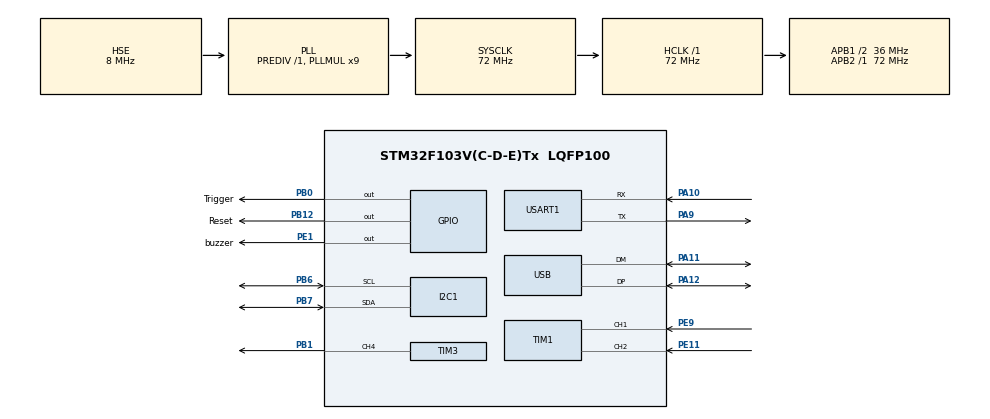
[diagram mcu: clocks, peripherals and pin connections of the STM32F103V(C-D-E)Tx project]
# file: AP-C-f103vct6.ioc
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Mcu.Family=STM32F1
Mcu.Name=STM32F103V(C-D-E)Tx
Mcu.Package=LQFP100
NVIC.PriorityGroup=NVIC_PRIORITYGROUP_4
NVIC.USART1_IRQn=true\:0\:0\:false\:false\:true\:true\:true
NVIC.USB_LP_CAN1_RX0_IRQn=true\:0\:0\:false\:false\:true\:false\:true
OSC_IN.Mode=HSE-External-Oscillator
OSC_IN.Signal=RCC_OSC_IN
OSC_OUT.Mode=HSE-External-Oscillator
OSC_OUT.Signal=RCC_OSC_OUT
PA10.Mode=Asynchronous
PA10.Signal=USART1_RX
PA11.Mode=Device
PA11.Signal=USB_DM
PA12.Mode=Device
PA12.Signal=USB_DP
PA13.Mode=Serial_Wire
PA13.Signal=SYS_JTMS-SWDIO
PA14.Mode=Serial_Wire
PA14.Signal=SYS_JTCK-SWCLK
PA9.Mode=Asynchronous
PA9.Signal=USART1_TX
PB0.GPIO_Label=Trigger
PB0.Signal=GPIO_Output
PB1.Signal=S_TIM3_CH4
PB12.GPIO_Label=Reset
PB12.Signal=GPIO_Output
PB6.Mode=I2C
PB6.Signal=I2C1_SCL
PB7.Mode=I2C
PB7.Signal=I2C1_SDA
PE1.GPIO_Label=buzzer
PE1.Signal=GPIO_Output
PE11.Signal=S_TIM1_CH2
PE9.Signal=S_TIM1_CH1
ProjectManager.HeapSize=0x1000
ProjectManager.StackSize=0x1000
ProjectManager.TargetToolchain=STM32CubeIDE
RCC.AHBFreq_Value=72000000
RCC.APB1CLKDivider=RCC_HCLK_DIV2
RCC.APB1Freq_Value=36000000
RCC.APB1TimFreq_Value=72000000
RCC.APB2Freq_Value=72000000
RCC.APB2TimFreq_Value=72000000
RCC.HCLKFreq_Value=72000000
RCC.PLLMUL=RCC_PLL_MUL9
RCC.SYSCLKFreq_VALUE=72000000
RCC.SYSCLKSource=RCC_SYSCLKSOURCE_PLLCLK
RCC.USBFreq_Value=48000000
RCC.USBPrescaler=RCC_USBCLKSOURCE_PLL_DIV1_5
SH.S_TIM1_CH1.0=TIM1_CH1,Encoder_Interface
SH.S_TIM1_CH2.0=TIM1_CH2,Encoder_Interface
SH.S_TIM3_CH4.0=TIM3_CH4,PWM Generation4 CH4
TIM1.EncoderMode=TIM_ENCODERMODE_TI12
TIM1.IC1Filter=10
TIM1.IC1Polarity=TIM_ICPOLARITY_FALLING
TIM1.IC2Filter=10
TIM1.IC2Polarity=TIM_ICPOLARITY_FALLING
TIM3.Channel-PWM\ Generation4\ CH4=TIM_CHANNEL_4
TIM3.Period=65453
TIM3.Prescaler=21
USART1.VirtualMode=VM_ASYNC
USB_DEVICE.CLASS_NAME_FS=CDC
USB_DEVICE.VirtualMode=Cdc
USB_DEVICE.VirtualModeFS=Cdc_FS
VP_USB_DEVICE_VS_USB_DEVICE_CDC_FS.Mode=CDC_FS
board=custom

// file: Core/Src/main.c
/* USER CODE BEGIN Header */
/**
  ******************************************************************************
  * @file           : main.c
  * @brief          : Main program body
  ******************************************************************************
  * @attention
  *
  * <h2><center>&copy; Copyright (c) 2020 STMicroelectronics.
  * All rights reserved.</center></h2>
  *
  * This software component is licensed by ST under Ultimate Liberty license
  * SLA0044, the "License"; You may not use this file except in compliance with
  * the License. You may obtain a copy of the License at:
  *                             www.st.com/SLA0044
  *
  ******************************************************************************
  */
/* USER CODE END Header */
#include "main.h"
#include "usb_device.h"

/* USER CODE BEGIN Includes */
#include "eeprom.h"
#include "usbd_cdc_if.h"
#include "LiquidCrystal_I2C.h"
#include <string.h>
#include <stdio.h>
#include <stdlib.h>
/* USER CODE END Includes */

/* USER CODE BEGIN PTD */
#define cls             10
#define up              11
#define down            12
#define exit            13
#define ok              14
#define dot             15

#define	Min1			0		//ADC
#define	Max1			4095

#define tedad_ersal			75
#define	Min_Real_Throttle	3272
#define	Max_Real_Throttle	6546

#define PWM_htim		&htim3
#define PWM_chanel		TIM_CHANNEL_4
#define	encoder_htim	TIM1
/* USER CODE END PTD */

/* USER CODE BEGIN PM */
const char info[] ={"\r\n***************************************\r\n"
                        "************* AeroPendulum ************\r\n"
                        "******* Seyyed Amir Ali Masoumi *******\r\n"
                        "**** PhoneNumber: +98 930 927 1137 ****\r\n"
                        "********* Telegram: @Mashroti *********\r\n"
                        "****** Email: Mashroty@gmail.com ******\r\n"
                        "***************************************\r\n"};
/* USER CODE END PM */

I2C_HandleTypeDef hi2c1;

TIM_HandleTypeDef htim1;
TIM_HandleTypeDef htim3;

UART_HandleTypeDef huart1;

/* USER CODE BEGIN PV */
struct Status
{
	uint8_t motor	: 1;
	uint8_t matlab	: 1;
	uint8_t whiles	: 1;
	uint8_t PID_whil: 1;
	uint8_t PID_OK	: 1;
	uint8_t Get_Num	: 1;
	uint8_t get_data: 1;
	uint8_t Online	: 1;
	uint8_t exe		: 1;
}Status;

struct PID{
	int8_t SetPoint;
	uint8_t time;
	double Kp;
	double Ki;
	double Kd;
}PID={45,0,20,0,0};

char RXBuffer[20],USARTbuffer[1000];

uint8_t NewDataLineCount=0;
uint8_t RXBufferCount=0;

uint8_t UsartNewDataLineCount=0;
uint8_t UsartRXBufferCount=0;
uint8_t NewDataInt;

uint16_t Min_Throttle ;	//PWM
uint16_t Max_Throttle ;	//6546
uint16_t throttle;
/* USER CODE END PV */

void SystemClock_Config(void);
static void MX_GPIO_Init(void);
static void MX_TIM1_Init(void);
static void MX_TIM3_Init(void);
static void MX_USART1_UART_Init(void);
static void MX_I2C1_Init(void);
/* USER CODE BEGIN PFP */
void startup (void);
void Process_UART_Data(char* Data);
char GET_KEY(void);
void Matlab(void);
void KeyPad(void);
void Volume(void);
void Verify_Unique(void);
void PID_setting(void);
void Get_Number (char *NUMBER);

void USART_Process_Data(void);
void Online(void);
void WiFi_Setting(void);

int __io_putchar(int ch)
{
  HAL_UART_Transmit(&huart1, (uint8_t *)&ch, 1, 0xFFFF);
  return ch;
}

void Log(char* log)
{
	CDC_Transmit_FS((uint8_t*)log,strlen(log));
}

void USART_log(char* log)
{
	HAL_UART_Transmit(&huart1,(uint8_t*)log,strlen(log),100);
}

void HAL_UART_RxCpltCallback(UART_HandleTypeDef *huart)
{
	USARTbuffer[UsartRXBufferCount++]=NewDataInt;
	USARTbuffer[UsartRXBufferCount]=0;
	if(NewDataInt=='\n')
	{
		//USART_log(USARTbuffer);
		UsartNewDataLineCount=UsartRXBufferCount;
		UsartRXBufferCount=0;
	}
	else
	{
		HAL_UART_Receive_IT(&huart1,&NewDataInt,1);
	}
}
/* USER CODE END PFP */

int main(void)
{
  /* USER CODE BEGIN 1 */
	int8_t Num;
	Status.matlab = 0;
	Status.Online = 0;
	Status.exe = 0;
	Status.get_data = 0;
  /* USER CODE END 1 */

  /* MCU Configuration--------------------------------------------------------*/

  /* Reset of all peripherals, Initializes the Flash interface and the Systick. */
  HAL_Init();

  /* Configure the system clock */
  SystemClock_Config();

  /* USER CODE BEGIN SysInit */
	HAL_FLASH_Unlock();
	EE_Init();
	EE_ReadVariable(0,&Min_Throttle);
	EE_ReadVariable(1,&Max_Throttle);
	HAL_FLASH_Lock();
  /* USER CODE END SysInit */

  /* Initialize all configured peripherals */
  MX_GPIO_Init();
  MX_TIM1_Init();
  MX_TIM3_Init();
  MX_USART1_UART_Init();
  MX_USB_DEVICE_Init();
  MX_I2C1_Init();
  /* USER CODE BEGIN 2 */
  HAL_TIM_Base_Start(&htim1);
  HAL_TIM_PWM_Start(PWM_htim,PWM_chanel);
  __HAL_TIM_SET_COMPARE(PWM_htim,PWM_chanel,Min_Real_Throttle);

  lcd_init(0x27, 4, 20);
  lcd_noCursor();
  startup();
  Verify_Unique();
  /* USER CODE END 2 */

  /* Infinite loop */
  /* USER CODE BEGIN WHILE */

  lcd_clear();
  Num = 20;

  while (1)
  {
	if((Num >= 0 && Num <= 9 ) || Num == 20)
	{
		lcd_clear();
		Status.whiles=1;
			 if(Num == 2)	Matlab();
		else if(Num == 3)	KeyPad();
		else if(Num == 9)	Volume();
		else if(Num == 0)	WiFi_Setting();
		else if(Num == 4)
		{
			Status.exe = 1;
			KeyPad();
		}
		else if(Num == 1)
		{
			Status.Online = 1;
			HAL_UART_Receive_IT(&huart1,&NewDataInt,1);
			KeyPad();
		}
		lcd_clear();
		lcd_puts_XY(0,0,"1> Online");
		lcd_puts_XY(0,1,"2> Matlab");
		lcd_puts_XY(0,2,"3> Micro Controller");
		lcd_puts_XY(0,3,"4> Windows app");
		//lcd_puts_XY(0,3,"8> Manual adjustment");

	}
	Num = GET_KEY();
	if (Num==cls)__HAL_TIM_SET_COMPARE(PWM_htim,PWM_chanel,Min_Real_Throttle);
    /* USER CODE END WHILE */

  }
}

void SystemClock_Config(void)
{
  RCC_OscInitTypeDef RCC_OscInitStruct = {0};
  RCC_ClkInitTypeDef RCC_ClkInitStruct = {0};
  RCC_PeriphCLKInitTypeDef PeriphClkInit = {0};

  /** Initializes the RCC Oscillators according to the specified parameters
  * in the RCC_OscInitTypeDef structure.
  */
  RCC_OscInitStruct.OscillatorType = RCC_OSCILLATORTYPE_HSE;
  RCC_OscInitStruct.HSEState = RCC_HSE_ON;
  RCC_OscInitStruct.HSEPredivValue = RCC_HSE_PREDIV_DIV1;
  RCC_OscInitStruct.HSIState = RCC_HSI_ON;
  RCC_OscInitStruct.PLL.PLLState = RCC_PLL_ON;
  RCC_OscInitStruct.PLL.PLLSource = RCC_PLLSOURCE_HSE;
  RCC_OscInitStruct.PLL.PLLMUL = RCC_PLL_MUL9;
  if (HAL_RCC_OscConfig(&RCC_OscInitStruct) != HAL_OK)
  {
    Error_Handler();
  }
  /** Initializes the CPU, AHB and APB buses clocks
  */
  RCC_ClkInitStruct.ClockType = RCC_CLOCKTYPE_HCLK|RCC_CLOCKTYPE_SYSCLK
                              |RCC_CLOCKTYPE_PCLK1|RCC_CLOCKTYPE_PCLK2;
  RCC_ClkInitStruct.SYSCLKSource = RCC_SYSCLKSOURCE_PLLCLK;
  RCC_ClkInitStruct.AHBCLKDivider = RCC_SYSCLK_DIV1;
  RCC_ClkInitStruct.APB1CLKDivider = RCC_HCLK_DIV2;
  RCC_ClkInitStruct.APB2CLKDivider = RCC_HCLK_DIV1;

  if (HAL_RCC_ClockConfig(&RCC_ClkInitStruct, FLASH_LATENCY_2) != HAL_OK)
  {
    Error_Handler();
  }
  PeriphClkInit.PeriphClockSelection = RCC_PERIPHCLK_USB;
  PeriphClkInit.UsbClockSelection = RCC_USBCLKSOURCE_PLL_DIV1_5;
  if (HAL_RCCEx_PeriphCLKConfig(&PeriphClkInit) != HAL_OK)
  {
    Error_Handler();
  }
}

static void MX_I2C1_Init(void)
{

  hi2c1.Instance = I2C1;
  hi2c1.Init.ClockSpeed = 100000;
  hi2c1.Init.DutyCycle = I2C_DUTYCYCLE_2;
  hi2c1.Init.OwnAddress1 = 0;
  hi2c1.Init.AddressingMode = I2C_ADDRESSINGMODE_7BIT;
  hi2c1.Init.DualAddressMode = I2C_DUALADDRESS_DISABLE;
  hi2c1.Init.OwnAddress2 = 0;
  hi2c1.Init.GeneralCallMode = I2C_GENERALCALL_DISABLE;
  hi2c1.Init.NoStretchMode = I2C_NOSTRETCH_DISABLE;
  if (HAL_I2C_Init(&hi2c1) != HAL_OK)
  {
    Error_Handler();
  }

}

static void MX_TIM1_Init(void)
{

  TIM_Encoder_InitTypeDef sConfig = {0};
  TIM_MasterConfigTypeDef sMasterConfig = {0};

  htim1.Instance = TIM1;
  htim1.Init.Prescaler = 0;
  htim1.Init.CounterMode = TIM_COUNTERMODE_UP;
  htim1.Init.Period = 65535;
  htim1.Init.ClockDivision = TIM_CLOCKDIVISION_DIV1;
  htim1.Init.RepetitionCounter = 0;
  htim1.Init.AutoReloadPreload = TIM_AUTORELOAD_PRELOAD_DISABLE;
  sConfig.EncoderMode = TIM_ENCODERMODE_TI12;
  sConfig.IC1Polarity = TIM_ICPOLARITY_FALLING;
  sConfig.IC1Selection = TIM_ICSELECTION_DIRECTTI;
  sConfig.IC1Prescaler = TIM_ICPSC_DIV1;
  sConfig.IC1Filter = 10;
  sConfig.IC2Polarity = TIM_ICPOLARITY_FALLING;
  sConfig.IC2Selection = TIM_ICSELECTION_DIRECTTI;
  sConfig.IC2Prescaler = TIM_ICPSC_DIV1;
  sConfig.IC2Filter = 10;
  if (HAL_TIM_Encoder_Init(&htim1, &sConfig) != HAL_OK)
  {
    Error_Handler();
  }
  sMasterConfig.MasterOutputTrigger = TIM_TRGO_RESET;
  sMasterConfig.MasterSlaveMode = TIM_MASTERSLAVEMODE_DISABLE;
  if (HAL_TIMEx_MasterConfigSynchronization(&htim1, &sMasterConfig) != HAL_OK)
  {
    Error_Handler();
  }

}

static void MX_TIM3_Init(void)
{

  TIM_MasterConfigTypeDef sMasterConfig = {0};
  TIM_OC_InitTypeDef sConfigOC = {0};

  htim3.Instance = TIM3;
  htim3.Init.Prescaler = 21;
  htim3.Init.CounterMode = TIM_COUNTERMODE_UP;
  htim3.Init.Period = 65453;
  htim3.Init.ClockDivision = TIM_CLOCKDIVISION_DIV1;
  htim3.Init.AutoReloadPreload = TIM_AUTORELOAD_PRELOAD_DISABLE;
  if (HAL_TIM_PWM_Init(&htim3) != HAL_OK)
  {
    Error_Handler();
  }
  sMasterConfig.MasterOutputTrigger = TIM_TRGO_RESET;
  sMasterConfig.MasterSlaveMode = TIM_MASTERSLAVEMODE_DISABLE;
  if (HAL_TIMEx_MasterConfigSynchronization(&htim3, &sMasterConfig) != HAL_OK)
  {
    Error_Handler();
  }
  sConfigOC.OCMode = TIM_OCMODE_PWM1;
  sConfigOC.Pulse = 0;
  sConfigOC.OCPolarity = TIM_OCPOLARITY_HIGH;
  sConfigOC.OCFastMode = TIM_OCFAST_DISABLE;
  if (HAL_TIM_PWM_ConfigChannel(&htim3, &sConfigOC, TIM_CHANNEL_4) != HAL_OK)
  {
    Error_Handler();
  }
  HAL_TIM_MspPostInit(&htim3);

}

static void MX_USART1_UART_Init(void)
{

  huart1.Instance = USART1;
  huart1.Init.BaudRate = 115200;
  huart1.Init.WordLength = UART_WORDLENGTH_8B;
  huart1.Init.StopBits = UART_STOPBITS_1;
  huart1.Init.Parity = UART_PARITY_NONE;
  huart1.Init.Mode = UART_MODE_TX_RX;
  huart1.Init.HwFlowCtl = UART_HWCONTROL_NONE;
  huart1.Init.OverSampling = UART_OVERSAMPLING_16;
  if (HAL_UART_Init(&huart1) != HAL_OK)
  {
    Error_Handler();
  }

}

static void MX_GPIO_Init(void)
{
  GPIO_InitTypeDef GPIO_InitStruct = {0};

  /* GPIO Ports Clock Enable */
  __HAL_RCC_GPIOB_CLK_ENABLE();
  __HAL_RCC_GPIOE_CLK_ENABLE();
  __HAL_RCC_GPIOA_CLK_ENABLE();

  /*Configure GPIO pin Output Level */
  HAL_GPIO_WritePin(GPIOB, Trigger_Pin|Reset_Pin, GPIO_PIN_RESET);

  /*Configure GPIO pin Output Level */
  HAL_GPIO_WritePin(buzzer_GPIO_Port, buzzer_Pin, GPIO_PIN_RESET);

  /*Configure GPIO pins : Trigger_Pin Reset_Pin */
  GPIO_InitStruct.Pin = Trigger_Pin|Reset_Pin;
  GPIO_InitStruct.Mode = GPIO_MODE_OUTPUT_PP;
  GPIO_InitStruct.Pull = GPIO_NOPULL;
  GPIO_InitStruct.Speed = GPIO_SPEED_FREQ_LOW;
  HAL_GPIO_Init(GPIOB, &GPIO_InitStruct);

  /*Configure GPIO pin : buzzer_Pin */
  GPIO_InitStruct.Pin = buzzer_Pin;
  GPIO_InitStruct.Mode = GPIO_MODE_OUTPUT_PP;
  GPIO_InitStruct.Pull = GPIO_NOPULL;
  GPIO_InitStruct.Speed = GPIO_SPEED_FREQ_LOW;
  HAL_GPIO_Init(buzzer_GPIO_Port, &GPIO_InitStruct);

}

/* USER CODE BEGIN 4 */
void startup(void)
{

	lcd_clear();
	uint8_t Num = GET_KEY();

	if(Num!=16)
	{
	  lcd_puts_XY(0,0,"SeyyedAmirAliMasoumi");
	  lcd_puts_XY(0,1,"Telegram : @Mashroti");
	  lcd_puts_XY(2,2,"+98 930 927 1137");
	  lcd_puts_XY(4,3,"AeroPendulum");
	  HAL_Delay(6000);
	}
	else
	{
	  lcd_puts_XY(4,0,"AeroPendulum");
	  lcd_puts_XY(1,1,"Motor Initializing");
	  lcd_puts_XY(4,2,"Please Wait");
	  for(uint8_t i=0 ;i<19 ;i++)
	  {
		  lcd_puts_XY(i,3,"\xff>");
		  HAL_Delay(300);
	  }
	}
	Log((char*)info);
	USART_log((char*)info);
}
/*****************************************************************************************************************
 ***********************************************                **************************************************
 ***********************************************   Usart Data   **************************************************
 ***********************************************                **************************************************
 *****************************************************************************************************************/
void Process_UART_Data(char* Data)
{
	char buffer[20];
	float p,i,d;
	int sp,time;
	NewDataLineCount=0;

	if(strstr(Data,"Angle?")!=0)
	{
		int16_t Angle = ((int16_t)TIM1->CNT)/4;
	    sprintf(buffer,"Angle:%04d\r\n",Angle);
	    Log(buffer);
	}

	else if(strstr(Data,"zenc")!=0)
	{
		TIM1->CNT = 0;
	}

	else if(strstr(Data,"PWM")!=0)
	{
		uint16_t track = atoi(strstr(Data,"PWM:")+4);
		__HAL_TIM_SET_COMPARE(PWM_htim,PWM_chanel,track);
	}
	else
	{
		int x = sscanf(Data,"kp%fki%fkd%fsp%dtime%d",&p,&i,&d,&sp,&time);
		if(x == 5)
		{
			PID.Kp = p;
			PID.Ki = i;
			PID.Kd = d;
			PID.SetPoint = sp;

			if(time == 555) Status.motor = 1;
			if(time == 444)
				{
					Status.motor = 0;
					__HAL_TIM_SET_COMPARE(PWM_htim,PWM_chanel,Min_Real_Throttle);
				}
		}
	}
}
/*****************************************************************************************************************
 ***********************************************                **************************************************
 ***********************************************  VerifyUnique  **************************************************
 ***********************************************                **************************************************
 *****************************************************************************************************************/
void Verify_Unique(void)
{
	uint8_t i;
	uint8_t ERROR[13] = {75,111,115,32,78,97,78,97,116,32,58,41,0};

	uint32_t unique_id1[3] = {0X44EDD34, 0X350E3756, 0X2202021E};
	uint32_t unique_id2[3] = {0x18d21fd, 0x2910fc, 0x2f238418};
	//uint32_t unique_id2[3] = {0x21A2203, 0xfd2a18f7, 0x21013535};
/********************** GET ID **********************/
/*
	uint32_t unique_id[3];
	for(i=0 ; i<3 ;i++)
	{
		unique_id[i] = *(__IO uint32_t*)(UID_BASE+i*4);
	}

	for(i=0 ; i<3 ;i++)
	{
		unique_id2[i] = unique_id[i] - unique_id1[i];
	}
*/
/********************** GET ID **********************/

	for(i=0 ; i<3 ;i++)
	{
		if((uint32_t)(unique_id1[i]+unique_id2[i]) != *(__IO uint32_t*)(UID_BASE+i*4))
		{
		  while(1)
		  {
			  lcd_setCursor(4, 2);
			  lcd_puts((char*)ERROR);
			  HAL_Delay(1000);
			  lcd_clear();
			  HAL_Delay(500);
		  }
		}
	}
}
/****************************************************************************************************************
 ***********************************************               **************************************************
 ***********************************************  Read KeyPad  **************************************************
 ***********************************************               **************************************************
 ****************************************************************************************************************/
char GET_KEY(void)
{
	unsigned char Num=16;
    char code[17]={ 1, 2, 3, 10,
                    4, 5, 6, 11,
                    7, 8, 9, 12,
                   15, 0,14, 13, 16};

    GPIOA->CRL = 0x88888888;
    GPIOA->ODR |= 0xFF;

    for(char i=0;i<4;i++)
    {
    	GPIOA->ODR &= ~(0x0001<<i);				//Pin reset (0)
        GPIOA->CRL &= ~(0x0000000f << (i*4));
        GPIOA->CRL |=  (0x00000002 << (i*4));	//Pin output

        HAL_Delay(2);

        if(((GPIOA->IDR & 0x000000FF) & 0xF0)!=0xF0)
        {
        	for(char x=0;x<4;x++)
        	{
        		if(((GPIOA->IDR & 0x000000FF) & 1<<(4+x)) != 1<<(4+x)) Num = i*4+x;
        	}
        }

        GPIOA->CRL &= ~(0x0000000f << (i*4));
        GPIOA->CRL |=  (0x00000008 << (i*4));	//Pin input
        GPIOA->ODR |=  (0x0001<<i);				//Pin set (1)
    }
    return code[Num];
}
/****************************************************************************************************************
 ***********************************************               **************************************************
 ***********************************************  Matlab Mode  **************************************************
 ***********************************************               **************************************************
 ****************************************************************************************************************/
void Matlab(void)
{
	int16_t Angle, pwm, darsad;
	uint8_t Buffer[21];

	char Num, Prev_Num;
	union u_type{
		double pid_exit;
		uint8_t u[8];
	}var;

	Status.motor=1;
	Status.matlab=1;
	NewDataLineCount = 1;

	while(Status.whiles)
	{

	    Angle = TIM1->CNT;	//get data from encoder
	    Angle /= 4;			//calculation Angle

		if(NewDataLineCount != 0)	//wait for new data
		{
			if(strstr(RXBuffer,"Angle?")!=0)
			{
				sprintf((char*)Buffer,"%04d\r\n",(int8_t)Angle);
				Log((char*)Buffer);
			}
			else
			{
				var.u[0] = RXBuffer[0];
				var.u[1] = RXBuffer[1];
				var.u[2] = RXBuffer[2];
				var.u[3] = RXBuffer[3];
				var.u[4] = RXBuffer[4];
				var.u[5] = RXBuffer[5];
				var.u[6] = RXBuffer[6];
				var.u[7] = RXBuffer[7];	//change received data to int16_t

				pwm = var.pid_exit + Min_Throttle;	//calculation PWM

				if(pwm > Max_Throttle) pwm = Max_Throttle;	//Limit Maximum pulse
				if(pwm < Min_Throttle) pwm = Min_Throttle;	//Limit Minimum pulse
				if(Status.motor) __HAL_TIM_SET_COMPARE(PWM_htim,PWM_chanel,pwm);
			}

			NewDataLineCount = 0;		//clear flag
		}

		sprintf((char*)Buffer,"Angle= %d  ",(int8_t)Angle);
		lcd_puts_XY(0,0,(char*)Buffer);

		darsad = (((pwm-Min_Real_Throttle)*100)/(Max_Real_Throttle - Min_Real_Throttle));
		sprintf((char*)Buffer,"Puls=%%%03d ",darsad);
		lcd_puts_XY(0,2,(char*)Buffer);

		Num = GET_KEY();
		if(Num != Prev_Num)
		{
			switch (Num)
			{
				case exit:
					Status.whiles=0;
					break;
				case 0:
					TIM1->CNT = 0;
					break;
				case cls:
					Status.motor ^= 1;
					break;
			}
			Prev_Num = Num;
		}
		if(!Status.motor)
		{
			__HAL_TIM_SET_COMPARE(PWM_htim,PWM_chanel,Min_Real_Throttle);
			lcd_puts_XY(11,2,"Motor OFF");
		}
		else lcd_puts_XY(11,2,"Motor ON ");
	}
	__HAL_TIM_SET_COMPARE(PWM_htim,PWM_chanel,Min_Real_Throttle);
	Status.matlab=0;
}
/****************************************************************************************************************
 ***********************************************               **************************************************
 ***********************************************  KeyPad Mode  **************************************************
 ***********************************************               **************************************************
 ****************************************************************************************************************/
void KeyPad(void)
{
	double Error=0, Previous_error=0;
	double p_term=0, d_term=0, i_term=0, dt=0;

	int16_t Value=0, PWM=0, Angle=0;
	uint32_t online_time,timePrev, TickStart = HAL_GetTick();
	uint16_t darsad, exe_time,exe_tickstart;

	char Num, Prev_Num=ok;
	uint8_t Buffer[21],i;
	int16_t angle_send[200];
	uint16_t time_send[200];

	Status.motor = 0;
	throttle =  Max_Throttle - Min_Throttle;

	while(Status.whiles)
	{
		Num = GET_KEY();
		if(Num != Prev_Num)
		{
			switch (Num)
			{
				case exit:
					Status.whiles=0;
					break;
				case 0:
					TIM1->CNT = 0;
					break;
				case up:
					PID.SetPoint++;
					break;
				case down:
					PID.SetPoint--;
					break;
				case ok:
					__HAL_TIM_SET_COMPARE(PWM_htim,PWM_chanel,Min_Real_Throttle);
					Status.motor = 0;i_term=0;d_term=0;
					PID_setting();
					break;
				case cls:
					Status.motor ^= 1;
					if(Status.motor == 0)
					{
						i_term=0;d_term=0;
						__HAL_TIM_SET_COMPARE(PWM_htim,PWM_chanel,Min_Real_Throttle);
						if(Status.Online)
						{
							HAL_UART_Transmit(&huart1,(uint8_t*) "D", 1, 20);
							HAL_UART_Receive_IT(&huart1,&NewDataInt,1);
							PID.time = 0;
						}
					}
					TickStart = HAL_GetTick();
					break;
			}
			if(Num == ok)Prev_Num = exit;
			else Prev_Num = Num;
		}

	    Angle = ((int16_t)TIM1->CNT)/4;

	    if(Status.exe)
	    {
			if(NewDataLineCount != 0)
			{
			  Process_UART_Data(RXBuffer);
			  i_term = 0;
			  exe_time = 0;
			  TickStart = HAL_GetTick();
			  exe_tickstart = HAL_GetTick();
			}
	    }

		if(Status.Online)
		{
			if(UsartNewDataLineCount!=0)
			{
				USART_Process_Data();
				if(Status.get_data==0)
				{
					Status.get_data = 1;
					Status.motor = 1;
					online_time = HAL_GetTick();
					i=0;
				}
			}
		}

		if(Status.motor)
		{
		    timePrev	=	TickStart;
		    TickStart	=	HAL_GetTick();
		    dt			= 	((float)(TickStart - timePrev) / 1000.00);

			Error		=	PID.SetPoint - Angle;

			if(Status.exe)
			{
				exe_time = HAL_GetTick() - exe_tickstart;
				sprintf((char*)Buffer,"data,%d,%d\r\n",Angle,exe_time);
				Log((char*)Buffer);
			}

			if(Status.Online)
			{
				angle_send[i] = (int16_t)Angle;
				time_send[i] = HAL_GetTick() - online_time;

				if(time_send[i] >= PID.time*1000)
				{
					HAL_UART_Receive_IT(&huart1,&NewDataInt,1);
					Status.motor = 0;
					PID.time = 0;
				}

				i++;
				if(i >= tedad_ersal || Status.motor == 0)
				{
					for(uint8_t x=0 ; x<i ; x++)
					{
						sprintf((char*)Buffer,"%d@%d,",angle_send[x],(uint16_t)time_send[x]);
						HAL_UART_Transmit(&huart1,(uint8_t*)Buffer, strlen((char*)Buffer), 50);
					}
					if(Status.motor == 0)HAL_UART_Transmit(&huart1,(uint8_t*) "D", 1, 20);
					else HAL_UART_Transmit(&huart1,(uint8_t*) "E", 1, 20);
					i=0;
				}
			}

			p_term = PID.Kp * Error;

			i_term		=	(PID.Ki * (Error + Previous_error) * dt / 2) + i_term ;
			if(i_term > throttle) i_term = throttle;
			if(i_term <-throttle) i_term = -throttle;

            /*N 			=	(1.0 / dt) * 0.9 ;
            filter		+=	dt * d_term;
            d_term 		= 	(PID.Kd * Error - filter) * N;*/

			d_term = (Error - Previous_error) / dt * PID.Kd;
            if(d_term > throttle)	d_term = throttle;
            if(d_term <-throttle)	d_term = -throttle;

			PWM			=	(int16_t)(p_term + i_term + d_term);

			if (PWM > throttle)	PWM = throttle;
			if (PWM < 0)		PWM = 0;

			Value = PWM + Min_Throttle;
			__HAL_TIM_SET_COMPARE(PWM_htim,PWM_chanel,Value);

			Previous_error = Error;
		}

		if(Status.motor) {lcd_puts_XY(11,3,"Motor ON ");}
		else
		{
			lcd_puts_XY(11,3,"Motor OFF");
			Value = Min_Real_Throttle;
			i_term = 0;d_term=0;
			if(Status.Online)__HAL_TIM_SET_COMPARE(PWM_htim,PWM_chanel,Min_Real_Throttle);
		}
		sprintf((char*)Buffer,"SP= %03d    PV= %03d ",PID.SetPoint,Angle);
		lcd_puts_XY(0,0,(char*)Buffer);

		darsad = (((Value-Min_Real_Throttle)*100)/(Max_Real_Throttle - Min_Real_Throttle));
		sprintf((char*)Buffer,"P=%07.3f  Puls=%%%03d",PID.Kp,darsad);
		lcd_puts_XY(0,1,(char*)Buffer);

		sprintf((char*)Buffer,"I=%07.3f",PID.Ki);
		lcd_puts_XY(0,2,(char*)Buffer);
		sprintf((char*)Buffer,"D=%07.3f",PID.Kd);
		lcd_puts_XY(0,3,(char*)Buffer);
	}

	__HAL_TIM_SET_COMPARE(PWM_htim,PWM_chanel,Min_Real_Throttle);
	Status.motor=0;Status.Online=0;
}
/****************************************************************************************************************
 ***********************************************               **************************************************
 ***********************************************  Volume Mode  **************************************************
 ***********************************************               **************************************************
 ****************************************************************************************************************/
void Volume(void)
{
	char Num,Prev_Num=ok;
	int Value = Min_Real_Throttle;
	char Buffer[15];
	int16_t encoder;

	Status.motor = 0;
	lcd_puts_XY(4,3,"Motor is OFF");

	HAL_FLASH_Unlock();
	EE_Init();

	while(Status.whiles)
	{
		Num = GET_KEY();
		if(Prev_Num == up || Prev_Num == down)Prev_Num=16;
		if(Num != Prev_Num)
		{
			switch (Num)
			{
			case exit:
				Status.whiles=0;
				break;
			case 0:
				TIM1->CNT = 0;
				break;
			case 1:
				Value = Min_Real_Throttle;
				break;
			case 2:
				Value = Max_Real_Throttle;
				break;
			case 7:
				Min_Throttle = Value;EE_WriteVariable(0,Min_Throttle);HAL_Delay(10);
				lcd_puts_XY(6,1,"Min Saved");HAL_Delay(250);lcd_puts_XY(6,1,"         ");
				break;
			case 8:
				Max_Throttle = Value;EE_WriteVariable(1,Max_Throttle);HAL_Delay(10);
				lcd_puts_XY(6,1,"Max Saved");HAL_Delay(250);lcd_puts_XY(6,1,"         ");
				break;
			case up:
				if(Value < Max_Real_Throttle)Value += 2;
				break;
			case down:
				if(Value > Min_Real_Throttle)Value -= 2;
				break;
			case cls:
				Status.motor ^= 1;
				if(Status.motor) {lcd_puts_XY(4,3,"Motor is ON ");}
				else
				{
					lcd_puts_XY(4,3,"Motor is OFF");
					Value = Min_Real_Throttle;
					__HAL_TIM_SET_COMPARE(PWM_htim,PWM_chanel,Value);
				}
				break;
			case ok:
				break;
			}
			Prev_Num = Num;
		}

		if(Status.motor)__HAL_TIM_SET_COMPARE(PWM_htim,PWM_chanel,Value);
		else 			__HAL_TIM_SET_COMPARE(PWM_htim,PWM_chanel,Min_Real_Throttle);

		encoder = TIM1->CNT;
		float Angle = (float)encoder / 4;
	    sprintf(Buffer,"Angle= %05.2f  ",Angle);
	    lcd_puts_XY(4,0,Buffer);

		float darsad = (float)((Value - Min_Real_Throttle)*100)/(Max_Real_Throttle - Min_Real_Throttle);
		sprintf(Buffer,"Pulse= %%%3.2f  ",darsad);
		lcd_puts_XY(4,2,Buffer);

	    HAL_Delay(1);
	}
	__HAL_TIM_SET_COMPARE(PWM_htim,PWM_chanel,Min_Real_Throttle);

	HAL_FLASH_Lock();
}
/****************************************************************************************************************
 ***********************************************               **************************************************
 ***********************************************    Setting    **************************************************
 ***********************************************               **************************************************
 ****************************************************************************************************************/
void PID_setting(void)
{
	uint8_t Prev_Num=ok,Num;
	char Buffer[20];
	char NUMBER[9];
	int8_t i=0;
	double x;

	lcd_clear();

	do
	{
		lcd_puts_XY(6,0,"SetPoint");
		lcd_puts_XY(9,1,"KP");
		lcd_puts_XY(9,2,"KI");
		lcd_puts_XY(9,3,"KD");

		Status.whiles=1; Status.PID_whil=0;
		while(Status.whiles)
		{
			Num = GET_KEY();

			if(Num != Prev_Num)
			{
				lcd_puts_XY(3,i," ");
				lcd_puts_XY(17,i," ");

				if(Num==up)i--;
				if(Num==down)i++;
				if(i<0)i=3;
				if(i>3)i=0;

				lcd_puts_XY(3,i,">");
				lcd_puts_XY(17,i,"<");
				Prev_Num = Num;

				if(Num == ok){Status.whiles=0;Status.PID_whil=1;}
				if(Num == exit)Status.whiles=0;
			}
		}
		if(Status.PID_whil)
		{
			lcd_clear();

			if(i==0)
			{
				lcd_puts_XY(0,0,"------>SET SP<------");
				sprintf(Buffer,"Last SP= %02d ",PID.SetPoint);
				lcd_puts_XY(2,2,Buffer);
				lcd_puts_XY(3,3,"NEW SP= ");
			}
			if(i==1)
			{
				lcd_puts_XY(0,0,"------>SET KP<------");
				sprintf(Buffer,"Last KP= %07.4f  ",PID.Kp);
				lcd_puts_XY(2,2,Buffer);
				lcd_puts_XY(3,3,"NEW KP= ");
			}
			if(i==2)
			{
				lcd_puts_XY(0,0,"------>SET KI<------");
				sprintf(Buffer,"Last KI= %07.4f  ",PID.Ki);
				lcd_puts_XY(2,2,Buffer);
				lcd_puts_XY(3,3,"NEW KI= ");
			}
			if(i==3)
			{
				lcd_puts_XY(0,0,"------>SET KD<------");
				sprintf(Buffer,"Last KD= %07.4f  ",PID.Kd);
				lcd_puts_XY(2,2,Buffer);
				lcd_puts_XY(3,3,"NEW KD= ");
			}

			Get_Number(NUMBER);
			if(Status.PID_OK)
			{
				Prev_Num = ok;
				x = atof(NUMBER);
				if(x > 999) x = 999;
				switch(i)
				{
					case 0:
						if(x > 90) x = 90;
						if(x < 0) x = 0;
						PID.SetPoint = x;
					break;
					case 1:
						PID.Kp = x;
					break;
					case 2:
						PID.Ki = x;
					break;
					case 3:
						PID.Kd = x;
					break;
				}
			}else Prev_Num = exit;

		}
	}while(Status.whiles);

	Status.whiles=1;
	lcd_clear();
}
/****************************************************************************************************************
 ***********************************************               **************************************************
 ***********************************************   Get Number  **************************************************
 ***********************************************               **************************************************
 ****************************************************************************************************************/
void Get_Number (char *NUMBER)
{
  char Prev_Num=ok ,Num;
  uint8_t i;

  for(i=0;i<7;i++)*(NUMBER+i)=' ';
  i=0;

  Status.Get_Num=1;
  while(Status.Get_Num)
  {
    Num = GET_KEY();
    if(Prev_Num != Num && Num !=16)
    {
       switch (Num)
       {
        case cls:
            if(i>0)i--;
            NUMBER[i] = ' ';
            lcd_setCursor(11+i, 3);
            lcd_putch(' ');
        break;

        case ok:
        	Status.Get_Num = 0;
            Status.PID_OK = 1;
        break;

        case exit:
        	Status.Get_Num = 0;
            Status.PID_OK = 0;
        break;

        case up:
        break;

        case down:
        break;

        case dot:
		if(i<7)
		{
		  NUMBER[i] = '.';
		  lcd_setCursor(11+i, 3);
		  lcd_putch(NUMBER[i]);
		  i++;
		}
        break;

        default:
            if(i<8)
            {
              NUMBER[i] = Num + '0';
    		  lcd_setCursor(11+i, 3);
    		  lcd_putch(NUMBER[i]);
              i++;
            }
       };

    }
    Prev_Num = Num;
  }
  Status.whiles=1;
  lcd_clear();
}

/****************************************************************************************************************
 ***********************************************               **************************************************
 ***********************************************     ONLINE    **************************************************
 ***********************************************               **************************************************
 ****************************************************************************************************************/
void USART_Process_Data(void)
{
	float p,i,d;
	int sp,time;

	int z = sscanf(USARTbuffer,"kp%fki%fkd%ftime%dsp%d", &p, &i, &d, &time, &sp);

	if(z == 5)
	{
		PID.Kp = p;
		PID.Ki = i;
		PID.Kd = d;
		PID.SetPoint = sp;

		if(time == 555) Status.motor = 1;
		if(time == 444) Status.motor = 0;
		if(time > 60) time = 60;
		PID.time = time;

		Status.get_data=0;
		if(Status.Online)
		{
			HAL_UART_Transmit(&huart1,(uint8_t*) "Y", 1, 20);
			HAL_Delay(20);
			HAL_UART_Transmit(&huart1,(uint8_t*) "Y", 1, 20);
			HAL_Delay(20);
			HAL_UART_Transmit(&huart1,(uint8_t*) "Y", 1, 20);
			HAL_Delay(20);
			HAL_UART_Transmit(&huart1,(uint8_t*) "Y", 1, 20);
		}
	}
	else
	{
		HAL_UART_Receive_IT(&huart1,&NewDataInt,1);
	}

	UsartNewDataLineCount=0;
}
/****************************************************************************************************************
 ***********************************************               **************************************************
 ***********************************************      WiFi     **************************************************
 ***********************************************               **************************************************
 ****************************************************************************************************************/
void WiFi_Setting(void)
{
	char Num;

	lcd_clear();
	lcd_puts_XY(0,0,"Connect to WiFi:");
	lcd_puts_XY(1,1,">> AeroPendulum <<");
	lcd_puts_XY(0,2,"And Type in browser:");
	lcd_puts_XY(1,3,">> 192.168.4.1 <<");

	HAL_GPIO_WritePin(Trigger_GPIO_Port, 	Trigger_Pin, 	GPIO_PIN_SET);
	HAL_Delay(250);
	HAL_GPIO_WritePin(Reset_GPIO_Port, 		Reset_Pin, 		GPIO_PIN_SET);
	HAL_Delay(250);
	HAL_GPIO_WritePin(Reset_GPIO_Port, 		Reset_Pin, 		GPIO_PIN_RESET);
	HAL_Delay(2000);
	HAL_GPIO_WritePin(Trigger_GPIO_Port, 	Trigger_Pin, 	GPIO_PIN_RESET);

	while(Status.whiles)
	{

		Num = GET_KEY();
		if(Num == exit)	Status.whiles=0;
	}
}
/* USER CODE END 4 */

void Error_Handler(void)
{
}

/************************ (C) COPYRIGHT STMicroelectronics *****END OF FILE****/
